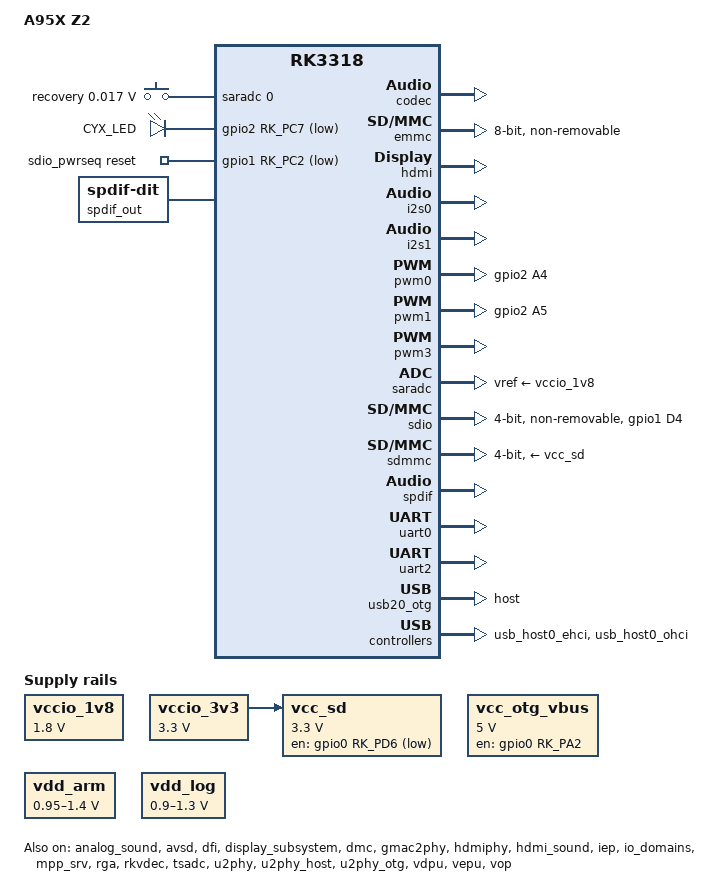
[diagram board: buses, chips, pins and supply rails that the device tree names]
// SPDX-License-Identifier: (GPL-2.0+ OR MIT)

/dts-v1/;
#include <dt-bindings/input/input.h>
#include "rk3328.dtsi"

/ {
	model = "A95X Z2";
	compatible = "zkmagic,a95x-z2", "rockchip,rk3318";

	chosen {
		stdout-path = "serial2:1500000n8";
	};

	adc-keys {
		compatible = "adc-keys";
		io-channels = <&saradc 0>;
		io-channel-names = "buttons";
		keyup-threshold-microvolt = <1800000>;
		poll-interval = <100>;

		recovery {
			label = "recovery";
			linux,code = <KEY_VENDOR>;
			press-threshold-microvolt = <17000>;
		};
	};

	leds {
		compatible = "gpio-leds";
		pinctrl-0 = <&cyx_led_pin>;
		pinctrl-names = "default";

		cyx_led: led-0 {
			default-state = "on";
			gpios = <&gpio2 RK_PC7 GPIO_ACTIVE_LOW>;
			label = "CYX_LED";
		};
	};

	sdio_pwrseq: sdio-pwrseq {
		compatible = "mmc-pwrseq-simple";
		pinctrl-0 = <&wifi_enable_h>;
		pinctrl-names = "default";
		reset-gpios = <&gpio1 RK_PC2 GPIO_ACTIVE_LOW>;
	};

	/*
	 * NEX-OS: el kernel BSP enciende el Wi-Fi SDIO con rfkill-wlan. El tipo
	 * de chip sale del relevamiento (identificar.sh, vendor/device SDIO):
	 * los Realtek necesitan el prefijo "rtl" (ej. "rtl8189fs").
	 */
	wireless-wlan {
		compatible = "wlan-platdata";
		rockchip,grf = <&grf>;
		wifi_chip_type = "rtl8189fs";
		sdio_vref = <1800>;
		status = "okay";
	};

	spdif-sound {
		compatible = "simple-audio-card";
		simple-audio-card,name = "SPDIF";
		simple-audio-card,mclk-fs = <128>;
		simple-audio-card,cpu {
			sound-dai = <&spdif>;
		};

		simple-audio-card,codec {
			sound-dai = <&spdif_out>;
		};
	};

	spdif_out: spdif-out {
		compatible = "linux,spdif-dit";
		#sound-dai-cells = <0>;
	};

	/* Power tree */
	vccio_1v8: vccio-1v8-regulator {
		compatible = "regulator-fixed";
		regulator-name = "vccio_1v8";
		regulator-min-microvolt = <1800000>;
		regulator-max-microvolt = <1800000>;
		regulator-always-on;
	};

	vccio_3v3: vccio-3v3-regulator {
		compatible = "regulator-fixed";
		regulator-name = "vccio_3v3";
		regulator-min-microvolt = <3300000>;
		regulator-max-microvolt = <3300000>;
		regulator-always-on;
	};

	vcc_otg_vbus: otg-vbus-regulator {
		compatible = "regulator-fixed";
		gpio = <&gpio0 RK_PA2 GPIO_ACTIVE_HIGH>;
		pinctrl-0 = <&otg_vbus_drv>;
		pinctrl-names = "default";
		regulator-name = "vcc_otg_vbus";
		regulator-min-microvolt = <5000000>;
		regulator-max-microvolt = <5000000>;
		enable-active-high;
	};

	vcc_sd: sdmmc-regulator {
		compatible = "regulator-fixed";
		gpio = <&gpio0 RK_PD6 GPIO_ACTIVE_LOW>;
		pinctrl-0 = <&sdmmc0m1_pin>;
		pinctrl-names = "default";
		regulator-name = "vcc_sd";
		regulator-min-microvolt = <3300000>;
		regulator-max-microvolt = <3300000>;
		vin-supply = <&vccio_3v3>;
	};

	vdd_arm: vdd-arm {
		compatible = "pwm-regulator";
		pwms = <&pwm0 0 5000 1>;
		regulator-name = "vdd_arm";
		regulator-min-microvolt = <950000>;
		regulator-max-microvolt = <1400000>;
		regulator-settling-time-up-us = <250>;
		regulator-always-on;
		regulator-boot-on;
	};

	vdd_log: vdd-log {
		compatible = "pwm-regulator";
		pwms = <&pwm1 0 5000 1>;
		regulator-name = "vdd_log";
		regulator-min-microvolt = <900000>;
		regulator-max-microvolt = <1300000>;
		regulator-settling-time-up-us = <250>;
		regulator-always-on;
		regulator-boot-on;
	};
};

&analog_sound {
	status = "okay";
};

&codec {
	status = "okay";
};

&avsd {
	status = "okay";
};

&cpu0 {
	cpu-supply = <&vdd_arm>;
};

&cpu1 {
	cpu-supply = <&vdd_arm>;
};

&cpu2 {
	cpu-supply = <&vdd_arm>;
};

&cpu3 {
	cpu-supply = <&vdd_arm>;
};

&cpu0_opp_table {
	opp-1200000000 {
		status = "disabled";
	};

	opp-1296000000 {
		status = "disabled";
	};
};

&dfi {
	status = "okay";
};

&display_subsystem {
	status = "okay";
};

&dmc {
	center-supply = <&vdd_log>;
	status = "okay";
};

&emmc {
	bus-width = <8>;
	cap-mmc-highspeed;
	non-removable;
	pinctrl-0 = <&emmc_clk &emmc_cmd &emmc_bus8>;
	pinctrl-names = "default";
	status = "okay";
};

&gmac2phy {
	assigned-clock-parents = <&cru SCLK_MAC2PHY_SRC>;
	assigned-clock-rate = <50000000>;
	assigned-clocks = <&cru SCLK_MAC2PHY>;
	clock_in_out = "output";
	status = "okay";
};

&gpu {
	mali-supply = <&vdd_log>;
};

&hdmi {
	ddc-i2c-scl-high-time-ns = <9625>;
	ddc-i2c-scl-low-time-ns = <10000>;
	status = "okay";
};

&hdmiphy {
	status = "okay";
};

&hdmi_sound {
	status = "okay";
};

&i2s0 {
	status = "okay";
};

&i2s1 {
	status = "okay";
};

&iep {
	status = "okay";
};

&iep_mmu {
	status = "okay";
};

&io_domains {
	pmuio-supply = <&vccio_3v3>;
	vccio1-supply = <&vccio_3v3>;
	vccio2-supply = <&vccio_1v8>;
	vccio3-supply = <&vccio_3v3>;
	vccio4-supply = <&vccio_1v8>;
	vccio5-supply = <&vccio_3v3>;
	vccio6-supply = <&vccio_3v3>;
	status = "okay";
};

&mpp_srv {
	status = "okay";
};

&pinctrl {
	leds {
		cyx_led_pin: cyx-led-pin {
			rockchip,pins = <2 RK_PC7 RK_FUNC_GPIO &pcfg_pull_none>;
		};
	};

	pwm0 {
		pwm0_pin_pull_up: pwm0-pin-pull-up {
			rockchip,pins = <2 RK_PA4 1 &pcfg_pull_up>;
		};
	};

	pwm1 {
		pwm1_pin_pull_up: pwm1-pin-pull-up {
			rockchip,pins = <2 RK_PA5 1 &pcfg_pull_up>;
		};
	};

	sdio-pwrseq {
		wifi_enable_h: wifi-enable-h {
			rockchip,pins = <1 RK_PC2 RK_FUNC_GPIO &pcfg_pull_none>;
		};
	};

	sdmmc1 {
		clk_32k_out: clk-32k-out {
			rockchip,pins = <1 RK_PD4 1 &pcfg_pull_none>;
		};
	};

	usb {
		host_vbus_drv: host-vbus-drv {
			rockchip,pins = <0 RK_PA0 RK_FUNC_GPIO &pcfg_pull_none>;
		};

		otg_vbus_drv: otg-vbus-drv {
			rockchip,pins = <0 RK_PA2 RK_FUNC_GPIO &pcfg_pull_none>;
		};
	};
};

&pwm0 {
	pinctrl-0 = <&pwm0_pin_pull_up>;
	pinctrl-names = "active";
	status = "okay";
};

&pwm1 {
	pinctrl-0 = <&pwm1_pin_pull_up>;
	pinctrl-names = "active";
	status = "okay";
};

/*
 * Control remoto: driver BSP rockchip,remotectl-pwm (pin IR del SoC, GPIO2_A2).
 * Cada control tiene su "usercode". Para uno nuevo: copiar el bloque ir_key del
 * DTS original (identificar.sh lo extrae del Android) o leerlo en el equipo con
 *   echo 1 > /sys/module/rockchip_pwm_remotectl/parameters/code_print; dmesg -w
 * OK va como KEY_ENTER (la UI lo usa para activar) y la casita como
 * KEY_HOMEPAGE (Chromium vuelve a NEX-OS).
 */
&pwm3 {
	status = "okay";
	compatible = "rockchip,remotectl-pwm";
	pinctrl-names = "default";
	pinctrl-0 = <&pwmir_pin>;
	remote_pwm_id = <3>;
	handle_cpu_id = <1>;
	remote_support_psci = <1>;

	/* Controles de referencia Rockchip (los de muchos TV box genéricos). */
	ir_key1 {
		rockchip,usercode = <0x4040>;
		rockchip,key_table =
			<0xf2	KEY_ENTER>,
			<0xba	KEY_BACK>,
			<0xf4	KEY_UP>,
			<0xf1	KEY_DOWN>,
			<0xef	KEY_LEFT>,
			<0xee	KEY_RIGHT>,
			<0xbd	KEY_HOMEPAGE>,
			<0xea	KEY_VOLUMEUP>,
			<0xe3	KEY_VOLUMEDOWN>,
			<0xb2	KEY_POWER>,
			<0xbc	KEY_MUTE>,
			<0xec	KEY_MENU>;
	};

	ir_key2 {
		rockchip,usercode = <0xff00>;
		rockchip,key_table =
			<0x39	KEY_POWER>,
			<0x73	KEY_MUTE>,
			<0xa4	KEY_PLAYPAUSE>,
			<0x75	KEY_VOLUMEDOWN>,
			<0x77	KEY_VOLUMEUP>,
			<0x7d	KEY_MENU>,
			<0xf9	KEY_HOMEPAGE>,
			<0x5f	KEY_BACK>,
			<0xb9	KEY_UP>,
			<0xe9	KEY_DOWN>,
			<0xb8	KEY_LEFT>,
			<0xea	KEY_RIGHT>,
			<0xaa	KEY_ENTER>,
			<0x55	KEY_1>,
			<0x5b	KEY_2>,
			<0xf8	KEY_3>,
			<0x57	KEY_4>,
			<0xed	KEY_5>,
			<0xee	KEY_6>,
			<0x59	KEY_7>,
			<0xf1	KEY_8>,
			<0xf2	KEY_9>,
			<0x79	KEY_0>,
			<0xe0	KEY_BACKSPACE>;
	};

	ir_key3 {
		rockchip,usercode = <0x1dcc>;
		rockchip,key_table =
			<0xee	KEY_ENTER>,
			<0xf0	KEY_BACK>,
			<0xf8	KEY_UP>,
			<0xbb	KEY_DOWN>,
			<0xef	KEY_LEFT>,
			<0xed	KEY_RIGHT>,
			<0xfc	KEY_HOMEPAGE>,
			<0xf1	KEY_VOLUMEUP>,
			<0xfd	KEY_VOLUMEDOWN>,
			<0xff	KEY_POWER>,
			<0xf3	KEY_MUTE>,
			<0xbf	KEY_MENU>;
	};
};

/* Decodificación de video por hardware (MPP): sin esto el video va por CPU. */
&rga {
	status = "okay";
};

&rkvdec {
	vcodec-supply = <&vdd_log>;
	status = "okay";
};

&rkvdec_mmu {
	status = "okay";
};

&saradc {
	vref-supply = <&vccio_1v8>;
	status = "okay";
};

&sdio {
	bus-width = <4>;
	cap-sd-highspeed;
	cap-sdio-irq;
	keep-power-in-suspend;
	max-frequency = <125000000>;
	mmc-pwrseq = <&sdio_pwrseq>;
	non-removable;
	pinctrl-0 = <&sdmmc1_bus4 &sdmmc1_cmd &sdmmc1_clk &clk_32k_out>;
	pinctrl-names = "default";
	sd-uhs-sdr104;
	status = "okay";
};

&sdmmc {
	bus-width = <4>;
	cap-sd-highspeed;
	pinctrl-0 = <&sdmmc0_clk &sdmmc0_cmd &sdmmc0_dectn &sdmmc0_bus4>;
	pinctrl-names = "default";
	vmmc-supply = <&vcc_sd>;
	status = "okay";
};

&spdif {
	pinctrl-0 = <&spdifm0_tx>;
	status = "okay";
};

&soc_crit {
	temperature = <115000>; /* millicelsius */
};

&target {
	temperature = <105000>; /* millicelsius */
};

&threshold {
	temperature = <90000>; /* millicelsius */
};

&tsadc {
	rockchip,hw-tshut-temp = <120000>;
	status = "okay";
};

&u2phy {
	status = "okay";
};

&u2phy_host {
	status = "okay";
};

&u2phy_otg {
	phy-supply = <&vcc_otg_vbus>;
	status = "okay";
};

&uart0 {
	pinctrl-0 = <&uart0_xfer &uart0_cts>;
	status = "okay";
};

&uart2 {
	status = "okay";
};

&usb20_otg {
	dr_mode = "host";
	status = "okay";
};

&usb_host0_ehci {
	status = "okay";
};

&usb_host0_ohci {
	status = "okay";
};

&vdpu {
	status = "okay";
};

&vepu {
	status = "okay";
};

&vepu_mmu {
	status = "okay";
};

&vop {
	status = "okay";
};

&vop_mmu {
	status = "okay";
};

&vpu_mmu {
	status = "okay";
};
